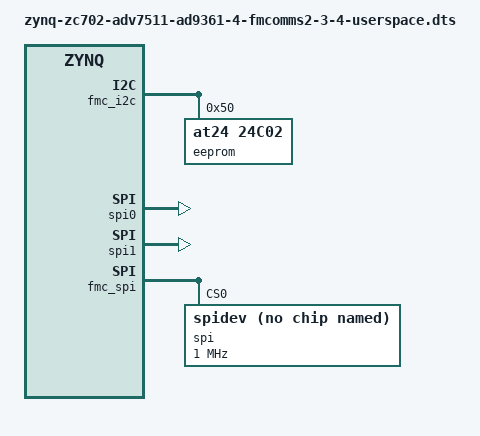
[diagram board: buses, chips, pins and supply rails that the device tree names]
// SPDX-License-Identifier: GPL-2.0
/*
 * Analog Devices AD-FMCOMMS2-EBZ/AD-FMCOMMS3-EBZ
 * https://wiki.analog.com/resources/eval/user-guides/ad-fmcomms2-ebz
 * https://wiki.analog.com/resources/eval/user-guides/ad-fmcomms3-ebz
 *
 * hdl_project: <fmcomms2/zc702>
 * board_revision: <>
 *
 * Copyright (C) 2014-2019 Analog Devices Inc.
 */
/dts-v1/;

#include "zynq-zc702.dtsi"
#include "zynq-zc702-adv7511.dtsi"

&fmc_i2c {
	eeprom@50 {
		compatible = "at24,24c02";
		reg = <0x50>;
	};
};

&spi0 {
	status = "okay";
};

&spi1 {
	status = "okay";
};

#define fmc_spi spi0
#define pmod_spi spi1

&fmc_spi {
	spi@0 {
		compatible = "spidev";
		spi-cpha;
		reg = <0x0>;
		spi-max-frequency = <1000000>;
	};
};

&fpga_axi {
	ad9361@79020000 {
		compatible = "dmem-uio";
		reg = <0x79020000 0x6000>;
	};

	rx_dma@7c400000 {
		compatible = "dmem-uio";
		reg = <0x7c400000 0x10000>;
		uio,number-of-dynamic-regions = <1>;
		uio,dynamic-regions-sizes = <262144>;
	};

	tx_dma@7c420000 {
		compatible = "dmem-uio";
		reg = <0x7c420000 0x10000>;
		uio,number-of-dynamic-regions = <1>;
		uio,dynamic-regions-sizes = <262144>;
	};
};

